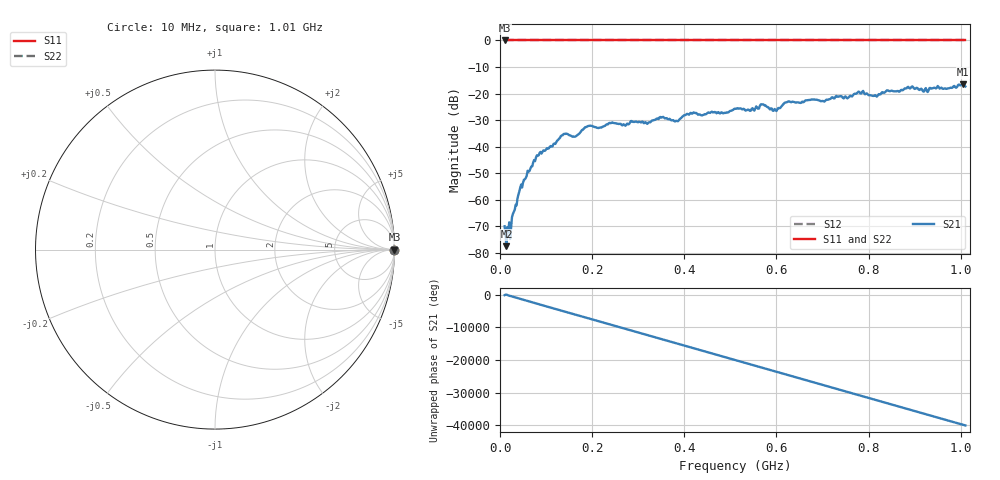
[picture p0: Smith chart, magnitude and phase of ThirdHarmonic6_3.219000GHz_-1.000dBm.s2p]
! 8/17/2025 9:49:29 AM
! C:\ANRITSUVNA\TEMP\TEMP.S2P
! CHANNEL.1
! TR.MEASUREMENT
! RAW.DATA
! RF.CORRECTION.OFF
! AVERAGING.OFF
! IF.BANDWIDTH: 5KHZ
! SWEEPTYPE:  FREQ.SWEEP(Linear)
! Reference Plane Port Info
! PORT:  PORT1  PORT2
! DISTANCE:  0  m  0  m
! TIME:  0  s  0  s
! PHASE.OFFSET:  0  deg.  0  deg.
! LOSS:  0  dB  0  dB
! REF.LOSS:  0  dB  0  dB
! REF.FREQ:  0  Hz  0  Hz
! Power Info
! POWER:  -20  dBm  -20  dBm
! EFF.POWER:  -20  dBm  -20  dBm
! SOURCE.ATTEN:  0  dB  0  dB
! TEST.ATTEN:  0  dB  0  dB
# GHZ S RI R 50.0
! FREQ.GHZ  S11RE  S11IM  S21RE  S21IM  S12RE  S12IM  S22RE  S22IM
!; PortSelection: Port_12
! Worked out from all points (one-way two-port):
!   501 points, 10 MHz to 1.01 GHz, reference 50 ohm
!   highest |S21| = -16.57 dB at 1.004 GHz (marker M1); lowest = -77.4 dB at 14 MHz (marker M2)
!   lowest |S11| = 0.0 dB at 10 MHz (marker M3)
!   |S11| at or under -10 dB: nowhere
!   |S22| runs from 0.0 to 0.0 dB; largest |S21 - S12| = 1.1
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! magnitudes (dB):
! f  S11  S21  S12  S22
! 10 MHz  0.0  -69.9  0.0  0.0
! 14 MHz  0.0  -77.4  0.0  0.0
! 18 MHz  0.0  -72.1  0.0  0.0
! 26 MHz  0.0  -66.5  0.0  0.0
! 30 MHz  0.0  -64.6  0.0  0.0
! 48 MHz  0.0  -55.4  0.0  0.0
! 82 MHz  0.0  -43.4  0.0  0.0
! 136 MHz  0.0  -35.7  0.0  0.0
! 162 MHz  0.0  -36.2  0.0  0.0
! 178 MHz  0.0  -33.7  0.0  0.0
! 344 MHz  0.0  -29.6  0.0  0.0
! 382 MHz  0.0  -30.2  0.0  0.0
! 416 MHz  0.0  -27.5  0.0  0.0
! 510 MHz  0.0  -25.7  0.0  0.0
! 570 MHz  0.0  -24.1  0.0  0.0
! 596 MHz  0.0  -25.8  0.0  0.0
! 622 MHz  0.0  -23.3  0.0  0.0
! 678 MHz  0.0  -22.2  0.0  0.0
! 814 MHz  0.0  -20.6  0.0  0.0
! 844 MHz  0.0  -19.0  0.0  0.0
! 1.004 GHz  0.0  -16.6  0.0  0.0
! 1.01 GHz  0.0  -17.3  0.0  0.0
